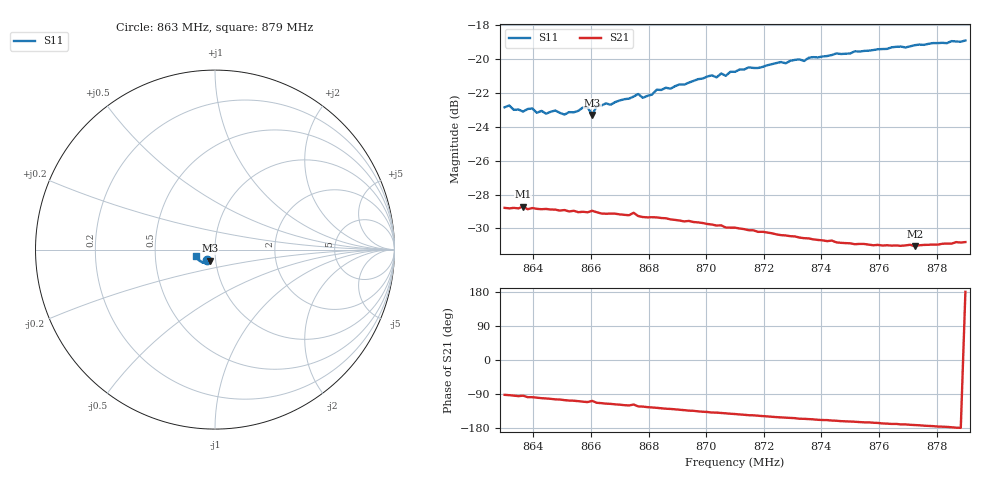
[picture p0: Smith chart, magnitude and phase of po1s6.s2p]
# HZ S RI R 50
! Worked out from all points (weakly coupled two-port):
!   101 points, 863 MHz to 879 MHz, reference 50 ohm
!   highest |S21| = -28.71 dB at 863.64 MHz (marker M1); lowest = -31.0 dB at 877.24 MHz (marker M2)
!   lowest |S11| = -23.3 dB at 866.04 MHz (marker M3), VSWR 1.15, Z = 46.8 - j5.78 ohm
!   |S11| at or under -10 dB: start of sweep to end of sweep
!   S12 and S22 are empty: the file has one direction only
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8.63e8  -0.0426 -0.0581  -0.00124 -0.0363  0 0  0 0
8.6316e8  -0.044 -0.0581  -0.00179 -0.0362  0 0  0 0
8.6332e8  -0.0429 -0.0563  -0.00252 -0.0363  0 0  0 0
8.6364e8  -0.0383 -0.0585  -0.00261 -0.0366  0 0  0 0
8.6396e8  -0.0406 -0.0588  -0.00519 -0.0359  0 0  0 0
8.6412e8  -0.0382 -0.0579  -0.00588 -0.0356  0 0  0 0
8.6476e8  -0.0371 -0.0599  -0.00864 -0.0349  0 0  0 0
8.6508e8  -0.0347 -0.0591  -0.00981 -0.0345  0 0  0 0
8.6572e8  -0.0359 -0.0623  -0.0121 -0.0333  0 0  0 0
8.6588e8  -0.0358 -0.0625  -0.0127 -0.0329  0 0  0 0
8.6604e8  -0.0298 -0.0615  -0.0109 -0.0339  0 0  0 0
8.662e8  -0.0365 -0.0627  -0.0137 -0.0325  0 0  0 0
8.6732e8  -0.0378 -0.0663  -0.0173 -0.03  0 0  0 0
8.6748e8  -0.033 -0.0701  -0.0162 -0.0312  0 0  0 0
8.6764e8  -0.0397 -0.0681  -0.0185 -0.029  0 0  0 0
8.678e8  -0.038 -0.0667  -0.0186 -0.0287  0 0  0 0
8.6844e8  -0.0409 -0.0699  -0.0206 -0.0269  0 0  0 0
8.71e8  -0.0549 -0.0733  -0.0252 -0.0193  0 0  0 0
8.7372e8  -0.0731 -0.07  -0.0269 -0.0117  0 0  0 0
8.7644e8  -0.0922 -0.0567  -0.0276 -0.0055  0 0  0 0
8.7724e8  -0.0973 -0.0509  -0.0277 -0.00407  0 0  0 0
8.79e8  -0.1078 -0.0351  -0.0288 5.3e-05  0 0  0 0
